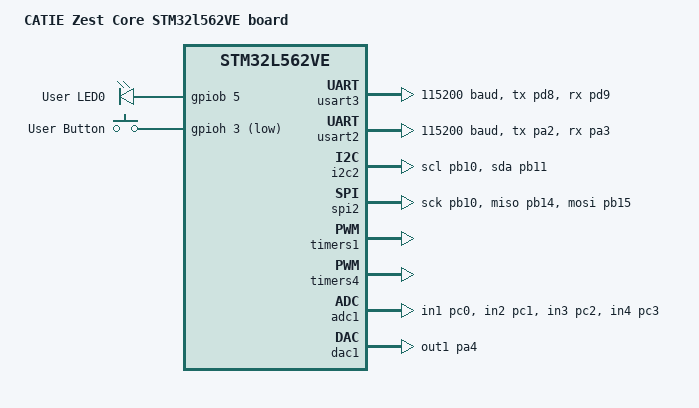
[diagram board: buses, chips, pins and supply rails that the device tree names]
/*
 * Copyright (c) 2024 CATIE
 *
 * SPDX-License-Identifier: Apache-2.0
 */

/dts-v1/;
#include <st/l5/stm32l562Xe.dtsi>
#include <st/l5/stm32l562vetx-pinctrl.dtsi>
#include "sixtron_connector.dtsi"

/ {
	model = "CATIE Zest Core STM32l562VE board";
	compatible = "catie,zest-core-stm32l562ve";

	chosen {
		zephyr,console = &usart2;
		zephyr,shell-uart = &usart2;
		zephyr,sram = &sram0;
		zephyr,flash = &flash0;
	};

	leds {
		compatible = "gpio-leds";
		led_0: led_0 {
			gpios = <&gpiob 5 GPIO_ACTIVE_HIGH>;
			label = "User LED0";
		};
	};

	gpio_keys {
		compatible = "gpio-keys";
		user_button: button {
			label = "User Button";
			gpios = <&gpioh 3 GPIO_ACTIVE_LOW>;
		};
	};

	aliases {
		led0 = &led_0;
		sw0 = &user_button;
	};
};

&clk_hsi48 {
	status = "okay";
};

&clk_msi {
	status = "okay";
	msi-range = <6>;
	msi-pll-mode;
};

&clk_lse {
	status = "okay";
};

&pll {
	div-m = <1>;
	mul-n = <55>;
	div-p = <7>;
	div-q = <2>;
	div-r = <2>;
	clocks = <&clk_msi>;
	status = "okay";
};

&rcc {
	clocks = <&pll>;
	clock-frequency = <DT_FREQ_M(110)>;
	ahb-prescaler = <1>;
	apb1-prescaler = <1>;
	apb2-prescaler = <1>;
};

&usart3 {
	pinctrl-0 = <&usart3_tx_pd8 &usart3_rx_pd9>;
	pinctrl-names = "default";
	current-speed = <115200>;
	status = "okay";
};

&usart2 {
	pinctrl-0 = <&usart2_tx_pa2 &usart2_rx_pa3>;
	pinctrl-names = "default";
	current-speed = <115200>;
	status = "okay";
};

&i2c2 {
	pinctrl-0 = <&i2c2_scl_pb10 &i2c2_sda_pb11>;
	pinctrl-names = "default";
	status = "okay";
};

&spi2 {
	pinctrl-0 = <&spi2_sck_pb10 &spi2_miso_pb14 &spi2_mosi_pb15>;
	pinctrl-names = "default";
	cs-gpios = <&gpiob 2 GPIO_ACTIVE_LOW>;
	status = "okay";
};

&timers1 {
	status = "okay";

	pwm1: pwm {
		pinctrl-0 = <&tim1_ch1_pa8>;
		pinctrl-names = "default";
		status = "okay";
	};

	pwm2: pwm {
		pinctrl-0 = <&tim1_ch2_pa9>;
		pinctrl-names = "default";
		status = "okay";
	};
};

&timers4 {
	status = "okay";

	pwm3: pwm {
		pinctrl-0 = <&tim4_ch3_pd14>;
		pinctrl-names = "default";
		status = "okay";
	};
};

&adc1 {
	pinctrl-0 = <&adc1_in1_pc0 &adc1_in2_pc1 &adc1_in3_pc2 &adc1_in4_pc3>;
	pinctrl-names = "default";
	st,adc-clock-source = <SYNC>;
	st,adc-prescaler = <4>;
	status = "okay";
};

&dac1 {
	pinctrl-0 = <&dac1_out1_pa4>;
	pinctrl-names = "default";
	status = "okay";
};
